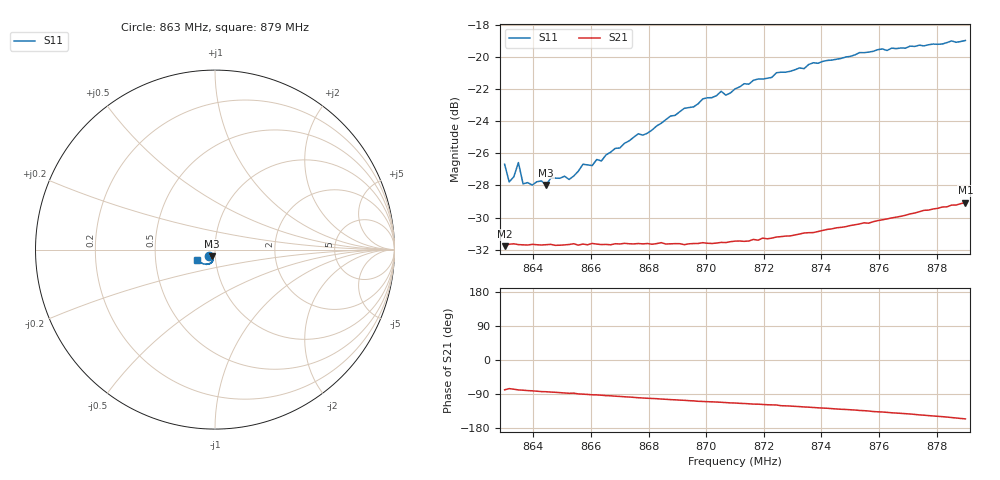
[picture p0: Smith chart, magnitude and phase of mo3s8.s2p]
# HZ S RI R 50
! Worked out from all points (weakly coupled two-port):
!   101 points, 863 MHz to 879 MHz, reference 50 ohm
!   highest |S21| = -29.07 dB at 879 MHz (marker M1); lowest = -31.8 dB at 863 MHz (marker M2)
!   lowest |S11| = -28.0 dB at 864.44 MHz (marker M3), VSWR 1.08, Z = 48.1 - j3.45 ohm
!   |S11| at or under -10 dB: start of sweep to end of sweep
!   S12 and S22 are empty: the file has one direction only
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8.63e8  -0.0323 -0.0332  0.00504 -0.0252  0 0  0 0
8.6316e8  -0.0247 -0.0325  0.00656 -0.0253  0 0  0 0
8.6332e8  -0.0257 -0.0337  0.00588 -0.0255  0 0  0 0
8.6348e8  -0.0296 -0.0364  0.00497 -0.0256  0 0  0 0
8.6364e8  -0.0225 -0.0334  0.00464 -0.0256  0 0  0 0
8.6428e8  -0.0186 -0.0367  0.00299 -0.0258  0 0  0 0
8.6444e8  -0.0177 -0.0358  0.00284 -0.0259  0 0  0 0
8.646e8  -0.0176 -0.0381  0.00247 -0.026  0 0  0 0
8.6524e8  -0.0143 -0.039  0.000968 -0.026  0 0  0 0
8.6572e8  -0.0127 -0.0446  -4.5e-05 -0.0261  0 0  0 0
8.6604e8  -0.0113 -0.0445  -0.000826 -0.0262  0 0  0 0
8.6636e8  -0.0121 -0.0459  -0.00133 -0.026  0 0  0 0
8.6764e8  -0.0109 -0.0566  -0.00435 -0.0259  0 0  0 0
8.6796e8  -0.0108 -0.0569  -0.005 -0.0258  0 0  0 0
8.6844e8  -0.0128 -0.0608  -0.00597 -0.0257  0 0  0 0
8.6988e8  -0.0192 -0.0715  -0.00876 -0.0249  0 0  0 0
8.7052e8  -0.024 -0.0744  -0.00973 -0.0246  0 0  0 0
8.7068e8  -0.0225 -0.0726  -0.0101 -0.0244  0 0  0 0
8.71e8  -0.0251 -0.0755  -0.0106 -0.0245  0 0  0 0
8.7372e8  -0.048 -0.0831  -0.0164 -0.0232  0 0  0 0
8.7644e8  -0.0757 -0.075  -0.0239 -0.0206  0 0  0 0
8.79e8  -0.0977 -0.056  -0.032 -0.0147  0 0  0 0
